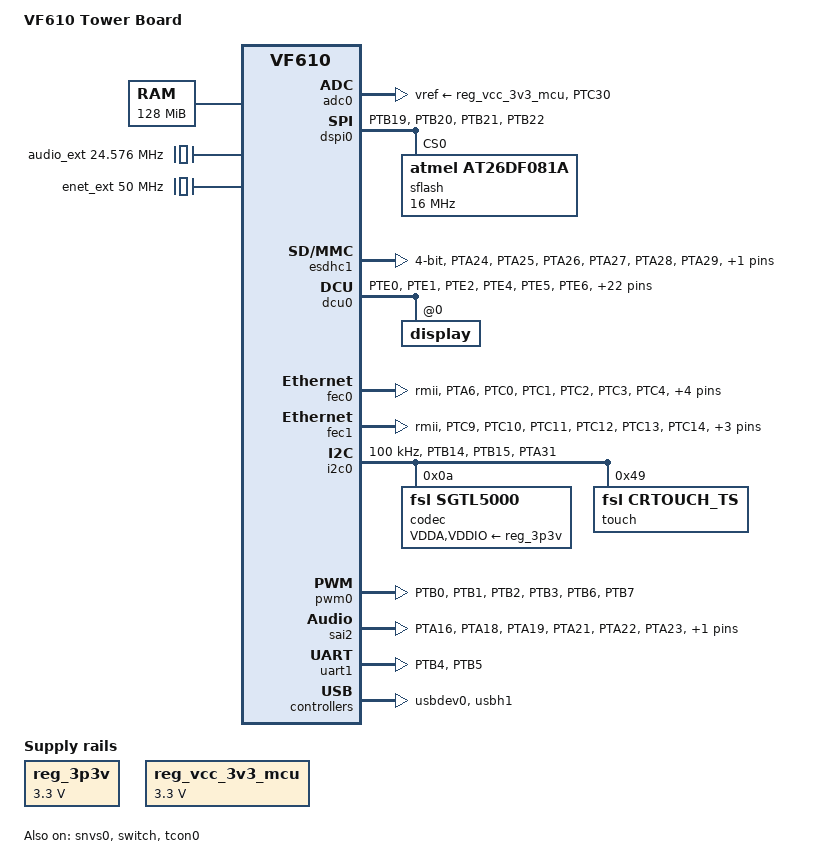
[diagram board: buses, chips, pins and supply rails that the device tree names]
/*
 * Copyright 2013 Freescale Semiconductor, Inc.
 *
 * This program is free software; you can redistribute it and/or modify
 * it under the terms of the GNU General Public License as published by
 * the Free Software Foundation; either version 2 of the License, or
 * (at your option) any later version.
 */

/dts-v1/;
#include "vf610.dtsi"

/ {
	model = "VF610 Tower Board";
	compatible = "fsl,vf610-twr", "fsl,vf610";

	chosen {
		bootargs = "console=ttyLP1,115200";
	};

	memory {
		reg = <0x80000000 0x8000000>;
	};

	clocks {
		audio_ext {
			compatible = "fixed-clock";
			clock-frequency = <24576000>;
		};

		enet_ext {
			compatible = "fixed-clock";
			clock-frequency = <50000000>;
		};
	};

	regulators {
		compatible = "simple-bus";
		#address-cells = <1>;
		#size-cells = <0>;

		reg_3p3v: regulator@0 {
			compatible = "regulator-fixed";
			reg = <0>;
			regulator-name = "3P3V";
			regulator-min-microvolt = <3300000>;
			regulator-max-microvolt = <3300000>;
			regulator-always-on;
		};

		reg_vcc_3v3_mcu: regulator@1 {
			compatible = "regulator-fixed";
			reg = <1>;
			regulator-name = "vcc_3v3_mcu";
			regulator-min-microvolt = <3300000>;
			regulator-max-microvolt = <3300000>;
		};
	};

	sound {
		compatible = "simple-audio-card";
		simple-audio-card,format = "i2s";
		simple-audio-card,widgets =
			"Microphone", "Microphone Jack",
			"Headphone", "Headphone Jack",
			"Speaker", "Speaker Ext",
			"Line", "Line In Jack";
		simple-audio-card,routing =
			"MIC_IN", "Microphone Jack",
			"Microphone Jack", "Mic Bias",
			"LINE_IN", "Line In Jack",
			"Headphone Jack", "HP_OUT",
			"Speaker Ext", "LINE_OUT";

		simple-audio-card,cpu {
			sound-dai = <&sai2>;
			master-clkdir-out;
			frame-master;
			bitclock-master;
		};

		simple-audio-card,codec {
			sound-dai = <&codec>;
			frame-master;
			bitclock-master;
		};
	};
};

&adc0 {
	pinctrl-names = "default";
	pinctrl-0 = <&pinctrl_adc0_ad5>;
	vref-supply = <&reg_vcc_3v3_mcu>;
	status = "okay";
};

&dspi0 {
	bus-num = <0>;
	pinctrl-names = "default";
	pinctrl-0 = <&pinctrl_dspi0>;
	status = "okay";

	sflash: at26df081a@0 {
		#address-cells = <1>;
		#size-cells = <1>;
		compatible = "atmel,at26df081a";
		spi-max-frequency = <16000000>;
		spi-cpol;
		spi-cpha;
		reg = <0>;
	};
};

&esdhc1 {
	pinctrl-names = "default";
	pinctrl-0 = <&pinctrl_esdhc1>;
	bus-width = <4>;
	status = "okay";
};

&snvs0 {
	pinctrl-names= "default";
	status = "okay";
};

&dcu0 {
	pinctrl-names = "default";
	pinctrl-0 = <&pinctrl_dcu0_1>;
	display = <&display>;
	status = "okay";

	display: display@0 {
		bits-per-pixel = <24>;

		display-timings {
			native-mode = <&timing0>;
			timing0: nl4827hc19 {
				clock-frequency = <10870000>;
				hactive = <480>;
				vactive = <272>;
				hback-porch = <2>;
				hfront-porch = <2>;
				vback-porch = <1>;
				vfront-porch = <1>;
				hsync-len = <41>;
				vsync-len = <2>;
				hsync-active = <1>;
				vsync-active = <1>;
			};
		};
	};
};

&gpio1 {
	pinctrl-0 = <&pinctrl_gpiored>;
	pinctrl-names = "default";
	status = "okay";
};

&gpio2 {
	pinctrl-names = "default";
	pinctrl-0 = <&pinctrl_gpiogreen>;
	status = "okay";
};

&gpio3 {
	pinctrl-names = "default";
	pinctrl-0 = <&pinctrl_gpioblue>;
	status = "okay";
};

&gpio4 {
	pinctrl-names = "default";
	pinctrl-0 = <&pinctrl_gpioyellow>;
	status = "okay";
};

&gpio5 {
	pinctrl-names = "default";
	status = "okay";
};

&fec0 {
	phy-mode = "rmii";
	pinctrl-names = "default";
	pinctrl-0 = <&pinctrl_fec0>;
	status = "okay";
};

&fec1 {
	phy-mode = "rmii";
	pinctrl-names = "default";
	pinctrl-0 = <&pinctrl_fec1>;
	status = "okay";
};

&switch{
	status = "okay";
};

&i2c0 {
	clock-frequency = <100000>;
	pinctrl-names = "default";
	pinctrl-0 = <&pinctrl_i2c0>;
	status = "okay";

	codec: sgtl5000@0a {
	       #sound-dai-cells = <0>;
	       compatible = "fsl,sgtl5000";
	       reg = <0x0a>;
	       VDDA-supply = <&reg_3p3v>;
	       VDDIO-supply = <&reg_3p3v>;
	       clocks = <&clks VF610_CLK_SAI2>;
       };

	touch: crtouch@49 {
		compatible = "fsl,crtouch_ts";
		reg = <0x49>;
	};
};

&iomuxc {
	vf610-twr {
		pinctrl_adc0_ad5: adc0ad5grp {
			fsl,pins = <
				VF610_PAD_PTC30__ADC0_SE5		0xa1
			>;
		};

		pinctrl_dspi0: dspi0grp {
			fsl,pins = <
				VF610_PAD_PTB19__DSPI0_CS0		0x1182
				VF610_PAD_PTB20__DSPI0_SIN		0x1181
				VF610_PAD_PTB21__DSPI0_SOUT		0x1182
				VF610_PAD_PTB22__DSPI0_SCK		0x1182
			>;
		};

		pinctrl_dcu0_1: dcu0grp_1 {
						fsl,pins = <
						VF610_PAD_PTE0__DCU0_HSYNC	0x42
						VF610_PAD_PTE1__DCU0_VSYNC	0x42
						VF610_PAD_PTE2__DCU0_PCLK	0x42
						VF610_PAD_PTE4__DCU0_DE		0x42
						VF610_PAD_PTE5__DCU0_R0		0x42
						VF610_PAD_PTE6__DCU0_R1		0x42
						VF610_PAD_PTE7__DCU0_R2		0x42
						VF610_PAD_PTE8__DCU0_R3		0x42
						VF610_PAD_PTE9__DCU0_R4		0x42
						VF610_PAD_PTE10__DCU0_R5	0x42
						VF610_PAD_PTE11__DCU0_R6	0x42
						VF610_PAD_PTE12__DCU0_R7	0x42
						VF610_PAD_PTE13__DCU0_G0	0x42
						VF610_PAD_PTE14__DCU0_G1	0x42
						VF610_PAD_PTE15__DCU0_G2	0x42
						VF610_PAD_PTE16__DCU0_G3	0x42
						VF610_PAD_PTE17__DCU0_G4	0x42
						VF610_PAD_PTE18__DCU0_G5	0x42
						VF610_PAD_PTE19__DCU0_G6	0x42
						VF610_PAD_PTE20__DCU0_G7	0x42
						VF610_PAD_PTE21__DCU0_B0	0x42
						VF610_PAD_PTE22__DCU0_B1	0x42
						VF610_PAD_PTE23__DCU0_B2	0x42
						VF610_PAD_PTE24__DCU0_B3	0x42
						VF610_PAD_PTE25__DCU0_B4	0x42
						VF610_PAD_PTE26__DCU0_B5	0x42
						VF610_PAD_PTE27__DCU0_B6	0x42
						VF610_PAD_PTE28__DCU0_B7	0x42
						>;
		};

		pinctrl_esdhc1: esdhc1grp {
			fsl,pins = <
				VF610_PAD_PTA24__ESDHC1_CLK	0x31ef
				VF610_PAD_PTA25__ESDHC1_CMD	0x31ef
				VF610_PAD_PTA26__ESDHC1_DAT0	0x31ef
				VF610_PAD_PTA27__ESDHC1_DAT1	0x31ef
				VF610_PAD_PTA28__ESDHC1_DATA2	0x31ef
				VF610_PAD_PTA29__ESDHC1_DAT3	0x31ef
				VF610_PAD_PTA7__GPIO_134	0x219d
			>;
		};

		pinctrl_gpiogreen: gpiogreengrp {
			fsl,pins = <
				VF610_PAD_PTB2__GPIO_24	0x1c2
			>;
		};

#define VF610_GPIO_INPUT_MODE  0x01 /* See Vybrid Reference Manual 5.2 */
#define VF610_GPIO_OUTPUT_MODE 0x4E /* See Vybrid Reference Manual 5.2 */

		pinctrl_gpiored: gpioredgrp {
			fsl,pins = <
				VF610_PAD_PTB3__GPIO_25	0x1c2
				VF610_PAD_PTB8__GPIO_30  VF610_GPIO_INPUT_MODE
				VF610_PAD_PTA20__GPIO_10 VF610_GPIO_OUTPUT_MODE
			>;
		};
		pinctrl_gpioblue: gpiobluegrp {
			fsl,pins = <
				VF610_PAD_PTB0__GPIO_22	0x1c2
			>;
		};
		pinctrl_gpioyellow: gpioyellowgrp {
			fsl,pins = <
				VF610_PAD_PTB1__GPIO_23	0x1c2
			>;
		};

		pinctrl_fec0: fec0grp {
			fsl,pins = <
				VF610_PAD_PTA6__RMII_CLKIN		0x30d1
				VF610_PAD_PTC0__ENET_RMII0_MDC		0x30d3
				VF610_PAD_PTC1__ENET_RMII0_MDIO		0x30d1
				VF610_PAD_PTC2__ENET_RMII0_CRS		0x30d1
				VF610_PAD_PTC3__ENET_RMII0_RXD1		0x30d1
				VF610_PAD_PTC4__ENET_RMII0_RXD0		0x30d1
				VF610_PAD_PTC5__ENET_RMII0_RXER		0x30d1
				VF610_PAD_PTC6__ENET_RMII0_TXD1		0x30d2
				VF610_PAD_PTC7__ENET_RMII0_TXD0		0x30d2
				VF610_PAD_PTC8__ENET_RMII0_TXEN		0x30d2
			>;
		};

		pinctrl_fec1: fec1grp {
			fsl,pins = <
				VF610_PAD_PTC9__ENET_RMII1_MDC		0x30d2
				VF610_PAD_PTC10__ENET_RMII1_MDIO	0x30d3
				VF610_PAD_PTC11__ENET_RMII1_CRS		0x30d1
				VF610_PAD_PTC12__ENET_RMII_RXD1		0x30d1
				VF610_PAD_PTC13__ENET_RMII1_RXD0	0x30d1
				VF610_PAD_PTC14__ENET_RMII1_RXER	0x30d1
				VF610_PAD_PTC15__ENET_RMII1_TXD1	0x30d2
				VF610_PAD_PTC16__ENET_RMII1_TXD0	0x30d2
				VF610_PAD_PTC17__ENET_RMII1_TXEN	0x30d2
			>;
		};

		pinctrl_i2c0: i2c0grp {
			fsl,pins = <
				VF610_PAD_PTB14__I2C0_SCL		0x30d3
				VF610_PAD_PTB15__I2C0_SDA		0x30d3
				VF610_PAD_PTA31__GPIO_21		0x219d
			>;
		};

		pinctrl_pwm0: pwm0grp {
			fsl,pins = <
				VF610_PAD_PTB0__FTM0_CH0		0x1582
				VF610_PAD_PTB1__FTM0_CH1		0x1582
				VF610_PAD_PTB2__FTM0_CH2		0x1582
				VF610_PAD_PTB3__FTM0_CH3		0x1582
				VF610_PAD_PTB6__FTM0_CH6		0x1582
				VF610_PAD_PTB7__FTM0_CH7		0x1582
			>;
		};

		pinctrl_sai2: sai2grp {
			fsl,pins = <
				VF610_PAD_PTA16__SAI2_TX_BCLK		0x02ed
				VF610_PAD_PTA18__SAI2_TX_DATA		0x02ee
				VF610_PAD_PTA19__SAI2_TX_SYNC		0x02ed
				VF610_PAD_PTA21__SAI2_RX_BCLK		0x02ed
				VF610_PAD_PTA22__SAI2_RX_DATA		0x02ed
				VF610_PAD_PTA23__SAI2_RX_SYNC		0x02ed
				VF610_PAD_PTB18__EXT_AUDIO_MCLK		0x02ed
			>;
		};

		pinctrl_uart1: uart1grp {
			fsl,pins = <
				VF610_PAD_PTB4__UART1_TX		0x21a2
				VF610_PAD_PTB5__UART1_RX		0x21a1
			>;
		};
	};
};

&pwm0 {
	pinctrl-names = "default";
	pinctrl-0 = <&pinctrl_pwm0>;
	status = "okay";
};

&sai2 {
	#sound-dai-cells = <0>;
	pinctrl-names = "default";
	pinctrl-0 = <&pinctrl_sai2>;
	status = "okay";
};

&tcon0 {
	status = "okay";
};

&uart1 {
	pinctrl-names = "default";
	pinctrl-0 = <&pinctrl_uart1>;
	status = "okay";
};

&usbdev0 {
	disable-over-current;
	status = "okay";
};

&usbh1 {
	disable-over-current;
	status = "okay";
};
